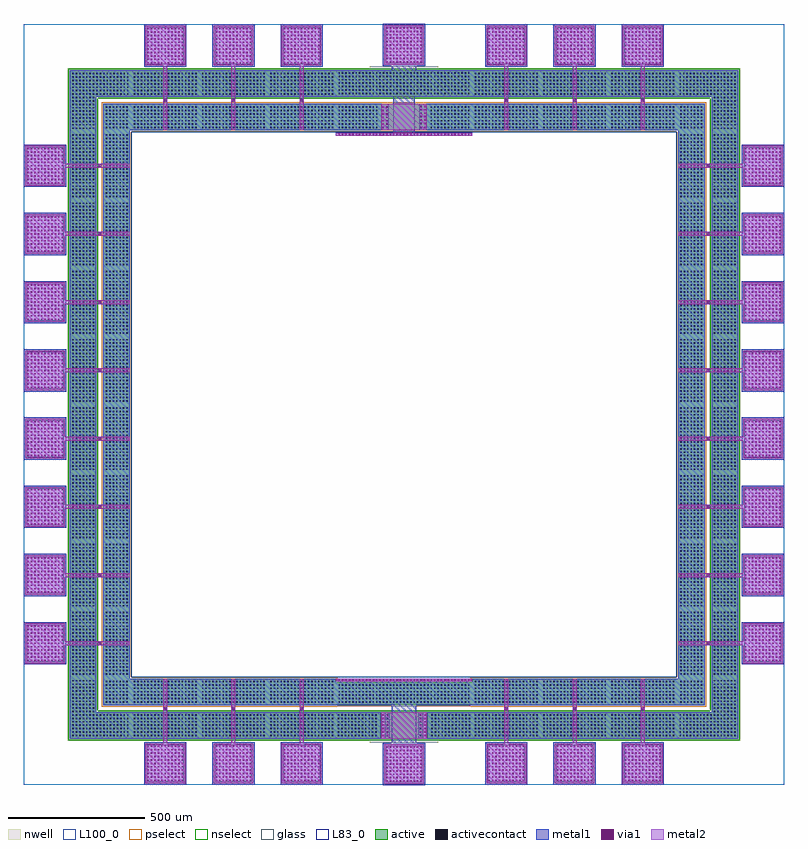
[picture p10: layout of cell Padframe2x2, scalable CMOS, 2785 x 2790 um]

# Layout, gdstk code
from math import pi, radians
import gdstk
lib = gdstk.Library(unit=1e-6, precision=1e-09)
def R(c, l, rs):  # rectangles x0, y0, x1, y1
    for r in rs: c.add(gdstk.rectangle(r[:2], r[2:], *l))
def A(c, l, x, y, w, h, nx, ny, dx, dy):  # array of equal rectangles
    R(c, l, [(x+i*dx, y+j*dy, x+i*dx+w, y+j*dy+h) for i in range(nx) for j in range(ny)])
def P(c, l, *ps):  # polygons
    for p in ps: c.add(gdstk.Polygon(p, *l))
nwell = (42, 0)
active = (43, 0)
pselect = (44, 0)
nselect = (45, 0)
activecontact = (48, 0)
metal1 = (49, 0)
via1 = (50, 0)
metal2 = (51, 0)
glass = (52, 0)
L83_0 = (83, 0)
L100_0 = (100, 0)

padigi = lib.new_cell('PADIGI')
R(padigi, nwell, [(0,120,265,232.5)])
R(padigi, active, [(7.5,5,257.5,102.5), (7.5,127.5,257.5,225)])
R(padigi, pselect, [(2.5,0,262.5,107.5)])
R(padigi, nselect, [(2.5,122.5,262.5,230)])
A(padigi, activecontact, 17.5, 12.5, 5, 5, 19, 7, 12.5, 12.5)
A(padigi, activecontact, 17.5, 135, 5, 5, 19, 7, 12.5, 12.5)
R(padigi, metal1, [(7.5,5,257.5,102.5), (127.5,110,137.5,120), (7.5,127.5,257.5,225), (55,237.5,210,392.5)])
A(padigi, via1, 67.5, 250, 5, 5, 11, 11, 12.5, 12.5)
R(padigi, via1, [(130,112.5,135,117.5)])
R(padigi, metal2, [(125,5,140,225), (125,225,140,242.5), (60,242.5,205,387.5)])
R(padigi, glass, [(65,247.5,200,382.5)])

padgnd = lib.new_cell('PADGND')
R(padgnd, nwell, [(0,115,515,227.5), (132.5,227.5,382.5,235)])
R(padgnd, active, [(7.5,12.5,507.5,95), (7.5,122.5,172.5,220), (187.5,122.5,327.5,220), (342.5,122.5,507.5,220)])
R(padgnd, pselect, [(2.5,7.5,512.5,100)])
R(padgnd, nselect, [(2.5,117.5,512.5,225)])
A(padgnd, activecontact, 17.5, 20, 5, 5, 39, 6, 12.5, 12.5)
A(padgnd, activecontact, 15, 130, 5, 5, 12, 7, 12.5, 12.5)
A(padgnd, activecontact, 195, 130, 5, 5, 1, 7, 0, 12.5)
A(padgnd, activecontact, 315, 130, 5, 5, 1, 7, 0, 12.5)
A(padgnd, activecontact, 357.5, 130, 5, 5, 12, 7, 12.5, 12.5)
R(padgnd, metal1, [(7.5,0,507.5,97.5), (212.5,97.5,302.5,235), (7.5,122.5,205,220), (310,122.5,507.5,220), (180,235,335,390)])
A(padgnd, via1, 17.5, 2.5, 5, 5, 39, 1, 12.5, 0)
A(padgnd, via1, 177.5, 130, 5, 5, 1, 7, 0, 12.5)
A(padgnd, via1, 332.5, 130, 5, 5, 1, 7, 0, 12.5)
A(padgnd, via1, 192.5, 247.5, 5, 5, 11, 11, 12.5, 12.5)
R(padgnd, metal2, [(7.5,0,507.5,10), (175,122.5,340,220), (185,240,330,385)])
R(padgnd, glass, [(190,245,325,380)])

padvdd = lib.new_cell('PADVDD')
P(padvdd, nwell, [(0,125),(0,237.5),(132.5,237.5),(132.5,245),(382.5,245),(382.5,237.5),(515,237.5),(515,125)])
R(padvdd, active, [(7.5,10,507.5,107.5), (7.5,132.5,507.5,230)])
R(padvdd, pselect, [(2.5,5,512.5,112.5)])
R(padvdd, nselect, [(2.5,127.5,512.5,235)])
A(padvdd, activecontact, 17.5, 17.5, 5, 5, 12, 7, 12.5, 12.5)
A(padvdd, activecontact, 192.5, 17.5, 5, 5, 1, 7, 0, 12.5)
A(padvdd, activecontact, 355, 17.5, 5, 5, 12, 7, 12.5, 12.5)
A(padvdd, activecontact, 317.5, 32.5, 5, 5, 1, 6, 0, 12.5)
A(padvdd, activecontact, 17.5, 142.5, 5, 5, 39, 7, 12.5, 12.5)
R(padvdd, activecontact, [(317.5,17.5,322.5,22.5)])
R(padvdd, metal1, [(7.5,-10,507.5,0), (217.5,0,297.5,22.5), (7.5,10,202.5,107.5), (217.5,10,297.5,22.5), (312.5,10,507.5,107.5), (7.5,132.5,507.5,230), (212.5,132.5,302.5,245), (180,245,335,400)])
P(padvdd, metal1, [(217.5,22.5),(217.5,132.5),(212.5,132.5),(212.5,137.5),(302.5,137.5),(302.5,132.5),(297.5,132.5),(297.5,22.5)])
A(padvdd, via1, 17.5, -7.5, 5, 5, 39, 1, 12.5, 0)
A(padvdd, via1, 177.5, 17.5, 5, 5, 1, 7, 0, 12.5)
A(padvdd, via1, 332.5, 32.5, 5, 5, 1, 6, 0, 12.5)
A(padvdd, via1, 192.5, 257.5, 5, 5, 11, 11, 12.5, 12.5)
R(padvdd, via1, [(332.5,17.5,337.5,22.5)])
R(padvdd, metal2, [(7.5,-10,507.5,0), (175,10,340,107.5), (185,250,330,395)])
R(padvdd, glass, [(190,255,325,390)])

corner = lib.new_cell('CORNER')
R(corner, nwell, [(-232.5,7.5,-120,232.5), (-232.5,120,-7.5,232.5)])
R(corner, active, [(-225,0,-127.5,225), (-102.5,0,-5,102.5), (-102.5,5,0,102.5), (-225,127.5,0,225)])
R(corner, pselect, [(-107.5,5,0,107.5)])
R(corner, nselect, [(-230,5,-122.5,230), (-230,122.5,-5,230)])
A(corner, activecontact, -215, 10, 5, 5, 7, 10, 12.5, 12.5)
A(corner, activecontact, -92.5, 12.5, 5, 5, 7, 7, 12.5, 12.5)
A(corner, activecontact, -215, 135, 5, 5, 17, 7, 12.5, 12.5)
R(corner, metal1, [(-225,0,-127.5,225), (-102.5,0,-5,102.5), (-102.5,5,0,102.5), (-225,127.5,0,225)])

padframe2x2 = lib.new_cell('Padframe2x2')
R(padframe2x2, L83_0, [(-1000,-1000,1000,1000), (-1000,-1000,1000,1000)])
R(padframe2x2, L100_0, [(-1392.5,-1392.5,1392.5,1392.5)])
padframe2x2.add(gdstk.Reference(padigi, (-1007.5,1000)))
padframe2x2.add(gdstk.Reference(padigi, (-757.5,1000)))
padframe2x2.add(gdstk.Reference(padigi, (-507.5,1000)))
padframe2x2.add(gdstk.Reference(padgnd, (257.5,-1005), rotation=pi))
padframe2x2.add(gdstk.Reference(padvdd, (-257.5,995)))
padframe2x2.add(gdstk.Reference(padigi, (242.5,1000)))
padframe2x2.add(gdstk.Reference(padigi, (492.5,1000)))
padframe2x2.add(gdstk.Reference(padigi, (742.5,1000)))
padframe2x2.add(gdstk.Reference(padigi, (1000,1007.5), rotation=3*pi/2))
padframe2x2.add(gdstk.Reference(padigi, (1000,757.5), rotation=3*pi/2))
padframe2x2.add(gdstk.Reference(padigi, (1000,507.5), rotation=3*pi/2))
padframe2x2.add(gdstk.Reference(padigi, (1000,257.5), rotation=3*pi/2))
padframe2x2.add(gdstk.Reference(padigi, (1000,7.5), rotation=3*pi/2))
padframe2x2.add(gdstk.Reference(padigi, (1000,-242.5), rotation=3*pi/2))
padframe2x2.add(gdstk.Reference(padigi, (1000,-492.5), rotation=3*pi/2))
padframe2x2.add(gdstk.Reference(padigi, (1000,-742.5), rotation=3*pi/2))
padframe2x2.add(gdstk.Reference(padigi, (1007.5,-1000), rotation=pi))
padframe2x2.add(gdstk.Reference(padigi, (757.5,-1000), rotation=pi))
padframe2x2.add(gdstk.Reference(padigi, (507.5,-1000), rotation=pi))
padframe2x2.add(gdstk.Reference(padigi, (-242.5,-1000), rotation=pi))
padframe2x2.add(gdstk.Reference(padigi, (-492.5,-1000), rotation=pi))
padframe2x2.add(gdstk.Reference(padigi, (-742.5,-1000), rotation=pi))
padframe2x2.add(gdstk.Reference(padigi, (-1000,-1007.5), rotation=pi/2))
padframe2x2.add(gdstk.Reference(padigi, (-1000,-757.5), rotation=pi/2))
padframe2x2.add(gdstk.Reference(padigi, (-1000,-507.5), rotation=pi/2))
padframe2x2.add(gdstk.Reference(padigi, (-1000,-257.5), rotation=pi/2))
padframe2x2.add(gdstk.Reference(padigi, (-1000,-7.5), rotation=pi/2))
padframe2x2.add(gdstk.Reference(padigi, (-1000,242.5), rotation=pi/2))
padframe2x2.add(gdstk.Reference(padigi, (-1000,492.5), rotation=pi/2))
padframe2x2.add(gdstk.Reference(padigi, (-1000,742.5), rotation=pi/2))
padframe2x2.add(gdstk.Reference(corner, (-1000,1000)))
padframe2x2.add(gdstk.Reference(corner, (-1000,-1000), rotation=pi/2))
padframe2x2.add(gdstk.Reference(corner, (1000,-1000), rotation=pi))
padframe2x2.add(gdstk.Reference(corner, (1000,1000), rotation=3*pi/2))

lib.write_gds('Padframe2x2.gds')
